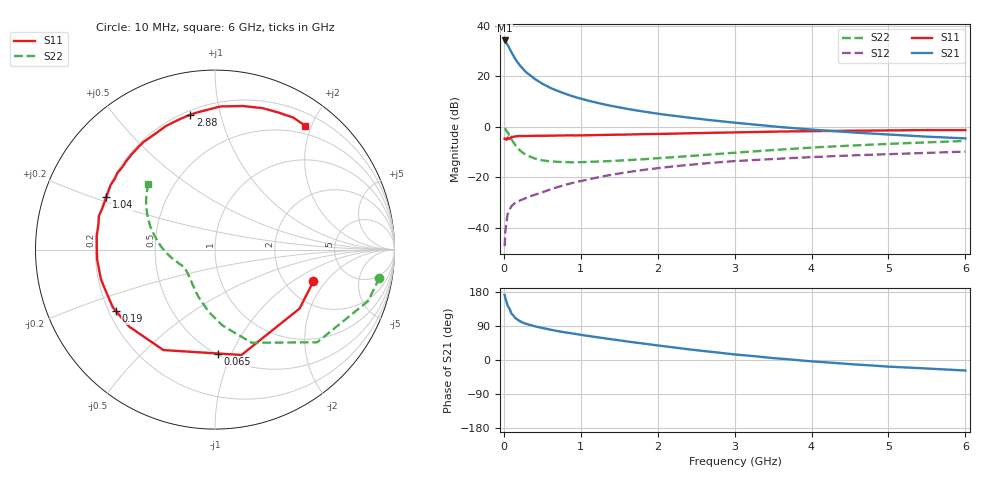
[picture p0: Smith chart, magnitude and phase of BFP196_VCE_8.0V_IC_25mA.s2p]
! Infineon Technologies  Discrete & RF Semiconductors
! BFP196
! VCE = 8.0 V,  IC =  25mA
! Common Emitter S-Parameters:  Jan 2016
# GHz  S  MA  R  50
!  f  S11  S21  S12  S22
! GHz  MAG  ANG  MAG  ANG  MAG  ANG  MAG  ANG
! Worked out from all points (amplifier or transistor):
!   210 points, 10 MHz to 6 GHz, reference 50 ohm
!   highest |S21| = 34.1 dB at 10 MHz (marker M1)
!   |S21| within 3 dB of that: start of sweep to 70.48 MHz
!   unconditionally stable (mu >= 1): 661.7 MHz to 4.289 GHz
!   at 185 MHz: K = 0.50, MSG = 27.4 dB, |S12| = -29.6 dB
!   at 1.52 GHz: K = 1.10, MAG = 11.1 dB, |S12| = -18.4 dB
!   at 6 GHz: K = 0.97, MSG = 2.6 dB, |S12| = -9.9 dB
!   S11 on the Smith chart (normalised r, x): 10 MHz: 2.84, -1.50; 65 MHz: 0.51, -0.89; 190 MHz: 0.23, -0.27; 1.04 GHz: 0.21, +0.22; 2.88 GHz: 0.22, +0.81; 6 GHz: 0.38, +1.91
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0.01  0.576 -17.9  50.79 171.8  0.0043 81.7  0.9297 -9.7
0.02  0.5744 -34.9  48.65 162.9  0.0084 77.2  0.8998 -18.6
0.05  0.6054 -75.9  41.46 143.1  0.0187 59.9  0.7686 -42.2
0.065  0.5792 -88.3  37.38 138.3  0.0211 55.4  0.692 -48.4
0.1  0.6293 -117.2  29.33 122.2  0.0269 48.0  0.5579 -68.5
0.15  0.6428 -138.2  21.56 110.5  0.0313 42.4  0.4247 -84.4
0.19  0.6493 -148.1  17.82 105.0  0.0335 42.2  0.3632 -93.0
0.2  0.6539 -150.5  16.92 103.3  0.034 42.1  0.3494 -95.6
0.24  0.6504 -157.5  14.33 99.3  0.036 42.6  0.3092 -102.4
0.3  0.6565 -165.4  11.58 94.5  0.0394 44.9  0.2714 -111.2
0.4  0.6591 -175.1  8.809 88.9  0.0448 47.3  0.2339 -121.9
0.5  0.6589 179.1  7.057 84.4  0.05 50.3  0.2148 -129.4
0.7  0.664 168.1  5.086 76.1  0.0636 53.1  0.201 -139.8
1.02  0.6719 154.9  3.508 65.8  0.0851 54.0  0.1982 -149.0
1.04  0.6729 154.1  3.445 65.2  0.0865 53.9  0.1987 -149.5
1.4  0.6916 141.7  2.563 54.7  0.1112 52.1  0.2084 -156.2
2.02  0.7201 122.9  1.785 38.0  0.1521 45.8  0.2378 -166.8
2.88  0.7635 100.3  1.251 17.4  0.2012 35.1  0.2953 177.9
3.1  0.7737 95.7  1.157 12.9  0.2118 32.1  0.3116 174.1
4.1  0.8169 77.5  0.853 -4.9  0.2529 20.4  0.3927 158.4
5.1  0.8439 63.8  0.685 -18.4  0.2893 9.6  0.462 146.2
6  0.8536 53.8  0.585 -27.8  0.3202 -0.2  0.5204 135.7
